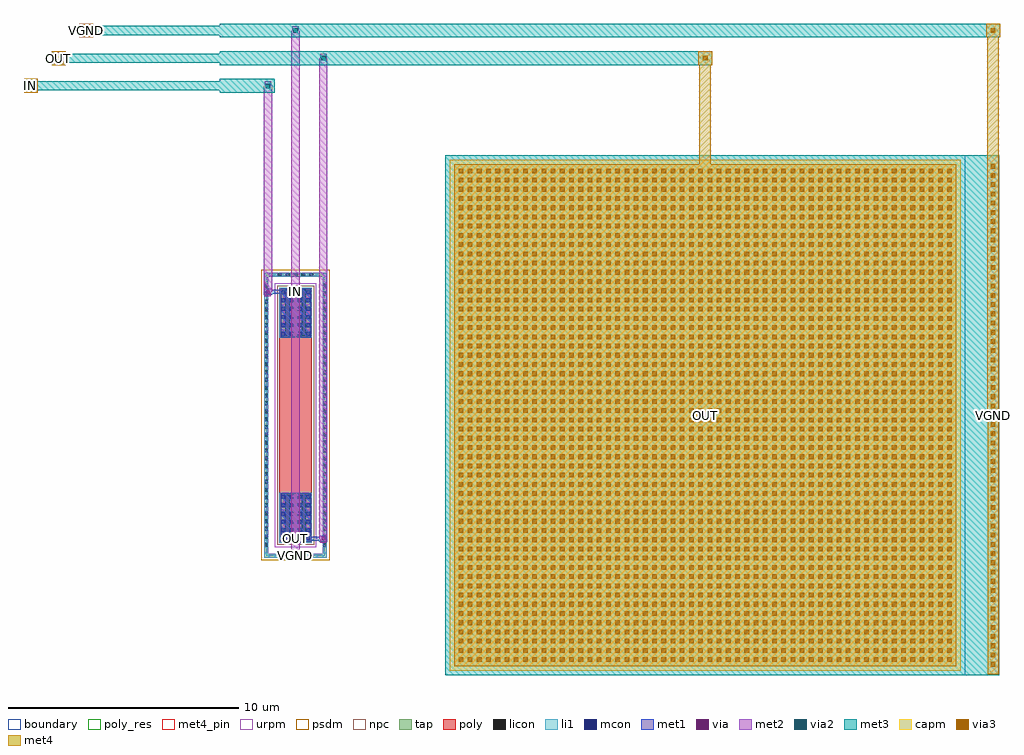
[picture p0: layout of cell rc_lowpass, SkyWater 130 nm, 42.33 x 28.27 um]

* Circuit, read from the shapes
.subckt rc_lowpass IN OUT VGND
XC1 OUT VGND sky130_fd_pr__cap_mim_m3_1 w=22.17 l=22.17
XR2 IN OUT VGND sky130_fd_pr__res_xhigh_po w=1.41 l=6.77
.ends

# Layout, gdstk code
import gdstk
lib = gdstk.Library(unit=1e-6, precision=1e-09)
def R(c, l, rs):  # rectangles x0, y0, x1, y1
    for r in rs: c.add(gdstk.rectangle(r[:2], r[2:], *l))
def A(c, l, x, y, w, h, nx, ny, dx, dy):  # array of equal rectangles
    R(c, l, [(x+i*dx, y+j*dy, x+i*dx+w, y+j*dy+h) for i in range(nx) for j in range(ny)])
tap = (65, 44)
poly_res = (66, 13)
poly = (66, 20)
licon = (66, 44)
li1 = (67, 20)
mcon = (67, 44)
met1 = (68, 20)
via = (68, 44)
met2 = (69, 20)
via2 = (69, 44)
met3 = (70, 20)
via3 = (70, 44)
met4_pin = (71, 16)
met4 = (71, 20)
urpm = (79, 20)
capm = (89, 44)
psdm = (94, 20)
npc = (95, 20)
boundary = (235, 4)

rc_lowpass = lib.new_cell('rc_lowpass')
R(rc_lowpass, tap, [(20.425,15.11,23.135,15.28), (20.425,15.28,20.595,27.29), (22.965,15.28,23.135,27.29), (20.425,27.29,23.135,27.46)])
R(rc_lowpass, poly_res, [(21.075,17.84,22.485,24.73)])
R(rc_lowpass, poly, [(21.075,15.76,22.485,26.81)])
A(rc_lowpass, licon, 21.015, 15.11, 0.17, 0.17, 5, 2, 0.34, 12.18)
A(rc_lowpass, licon, 20.425, 15.59, 0.17, 0.17, 1, 34, 0, 0.34)
A(rc_lowpass, licon, 22.965, 15.59, 0.17, 0.17, 1, 34, 0, 0.34)
R(rc_lowpass, licon, [(21.33,15.84,21.52,17.84), (22.04,15.84,22.23,17.84), (21.33,24.73,21.52,26.73), (22.04,24.73,22.23,26.73)])
R(rc_lowpass, li1, [(20.425,15.11,23.135,15.28), (20.425,15.28,20.595,27.29), (22.965,15.28,23.135,27.29), (21.075,15.76,22.485,17.92), (21.075,24.65,22.485,26.81), (20.425,27.29,23.135,27.46)])
A(rc_lowpass, mcon, 21.155, 15.855, 0.17, 0.17, 4, 6, 0.36, 0.36)
A(rc_lowpass, mcon, 21.155, 24.74, 0.17, 0.17, 4, 6, 0.36, 0.36)
R(rc_lowpass, mcon, [(21.695,15.11,21.865,15.28), (21.695,15.85,21.865,16.02), (21.695,26.55,21.865,26.72)])
R(rc_lowpass, met1, [(21.58,14.995,21.98,15.395), (21.6,15.065,21.96,15.325), (21.58,15.735,21.98,16.135), (21.125,15.79,22.435,17.895), (22.8,15.805,23.16,16.065), (21.78,15.85,22.98,16.02), (21.125,24.675,22.435,26.78), (21.58,26.435,21.98,26.835), (20.4,26.505,20.76,26.765), (20.58,26.55,21.78,26.72)])
R(rc_lowpass, via, [(21.705,15.12,21.855,15.27), (22.905,15.86,23.055,16.01), (20.505,26.56,20.655,26.71)])
R(rc_lowpass, met2, [(21.65,15.015,21.91,15.375), (21.6,15.195,21.96,37.97), (22.85,15.755,23.11,16.115), (22.8,15.935,23.16,36.77), (20.45,26.455,20.71,26.815), (20.4,26.635,20.76,35.57), (20.44,35.38,20.72,35.76), (22.84,36.58,23.12,36.96), (21.64,37.78,21.92,38.16)])
R(rc_lowpass, via2, [(20.48,35.47,20.68,35.67), (22.88,36.67,23.08,36.87), (21.68,37.87,21.88,38.07)])
R(rc_lowpass, met3, [(28.26,10,52.29,32.57), (10,35.27,10.6,35.87), (18.5,35.27,20.88,35.87), (20.33,35.32,20.83,35.82), (11.2,36.47,11.8,37.07), (18.5,36.47,39.845,37.07), (39.245,36.47,39.845,37.07), (22.73,36.52,23.23,37.02), (12.4,37.67,13,38.27), (18.5,37.67,52.33,38.27), (51.73,37.67,52.33,38.27), (21.53,37.72,22.03,38.22)])
A(rc_lowpass, via3, 51.93, 10.385, 0.2, 0.2, 1, 55, 0, 0.4)
A(rc_lowpass, via3, 28.845, 10.585, 0.2, 0.2, 54, 54, 0.4, 0.4)
R(rc_lowpass, via3, [(10.2,35.47,10.4,35.67), (11.4,36.67,11.6,36.87), (39.445,36.67,39.645,36.87), (12.6,37.87,12.8,38.07), (51.93,37.87,52.13,38.07)])
R(rc_lowpass, met4_pin, [(10.05,35.32,10.55,35.82), (11.25,36.52,11.75,37.02), (12.45,37.72,12.95,38.22)])
R(rc_lowpass, met4, [(51.79,10.06,52.27,32.51), (28.655,10.395,50.435,32.175), (39.295,21.285,39.795,36.77), (51.78,21.285,52.28,37.97), (10,35.27,10.6,35.87), (10.05,35.27,10.55,35.87), (11.2,36.47,11.8,37.07), (11.25,36.47,11.75,37.07), (39.245,36.47,39.845,37.07), (12.4,37.67,13,38.27), (12.45,37.67,12.95,38.27), (51.73,37.67,52.33,38.27)])
R(rc_lowpass, urpm, [(20.875,15.56,22.685,27.01)])
R(rc_lowpass, capm, [(28.46,10.2,50.63,32.37)])
R(rc_lowpass, psdm, [(20.3,14.985,23.26,27.585)])
R(rc_lowpass, npc, [(20.98,15.665,22.58,26.905)])
R(rc_lowpass, boundary, [(28.26,10,50.83,32.57), (20.51,15.195,23.05,27.375)])
rc_lowpass.add(gdstk.FlexPath([(10.3,35.57),(18.5,35.57)], 0.4, ends="flush", simple_path=True, layer=70, datatype=20))  # met3
rc_lowpass.add(gdstk.FlexPath([(11.5,36.77),(18.5,36.77)], 0.4, ends="flush", simple_path=True, layer=70, datatype=20))  # met3
rc_lowpass.add(gdstk.FlexPath([(12.7,37.97),(18.5,37.97)], 0.4, ends="flush", simple_path=True, layer=70, datatype=20))  # met3
rc_lowpass.add(gdstk.Label('VGND', (21.78,15.195), layer=67, texttype=5))
rc_lowpass.add(gdstk.Label('IN', (21.78,26.635), layer=67, texttype=5))
rc_lowpass.add(gdstk.Label('OUT', (21.78,15.935), layer=67, texttype=5))
rc_lowpass.add(gdstk.Label('VGND', (52.03,21.285), layer=71, texttype=5))
rc_lowpass.add(gdstk.Label('OUT', (39.545,21.285), layer=71, texttype=5))
rc_lowpass.add(gdstk.Label('IN', (10.3,35.57), layer=71, texttype=5))
rc_lowpass.add(gdstk.Label('OUT', (11.5,36.77), layer=71, texttype=5))
rc_lowpass.add(gdstk.Label('VGND', (12.7,37.97), layer=71, texttype=5))

lib.write_gds('rc_lowpass.gds')
